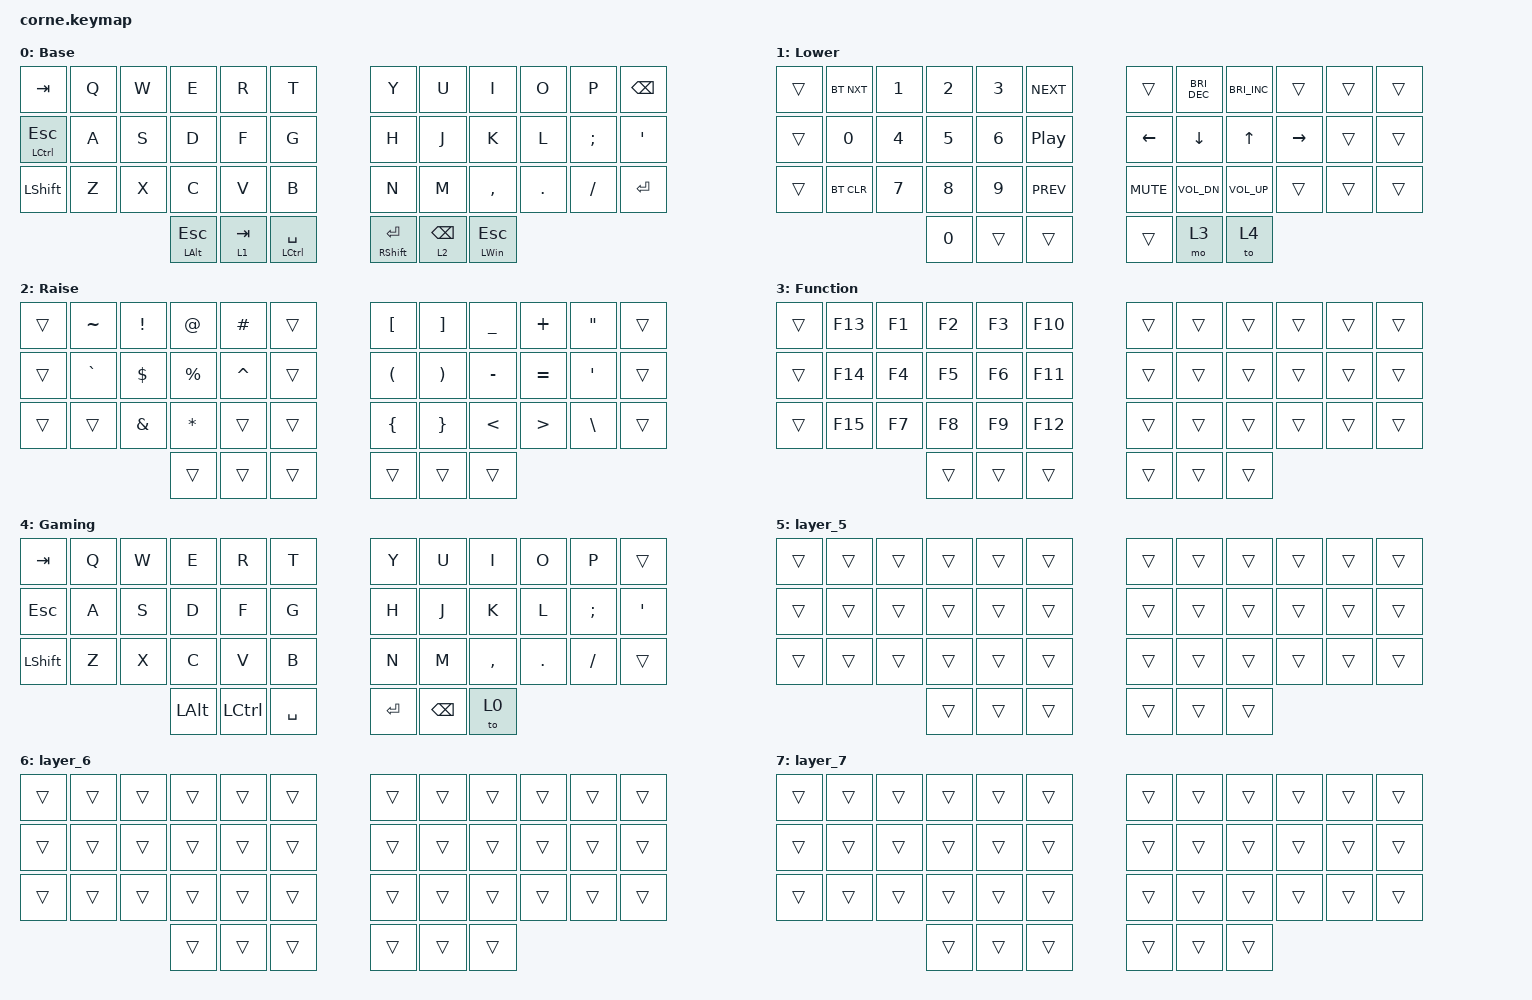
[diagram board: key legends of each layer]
/*
 * Copyright (c) 2020 The ZMK Contributors
 *
 * SPDX-License-Identifier: MIT
 */

#include <behaviors.dtsi>
#include <dt-bindings/zmk/bt.h>
#include <dt-bindings/zmk/keys.h>

/ {
    keymap {
        compatible = "zmk,keymap";

        default_layer {
            // -----------------------------------------------------------------------------------------
            // |  TAB |  Q  |  W  |  E  |  R  |  T  |   |  Y  |  U   |  I  |  O  |  P  | BKSP |
            // | CTRL |  A  |  S  |  D  |  F  |  G  |   |  H  |  J   |  K  |  L  |  ;  |  '   |
            // | SHFT |  Z  |  X  |  C  |  V  |  B  |   |  N  |  M   |  ,  |  .  |  /  | ESC  |
            //                    | GUI | LWR | SPC |   | ENT | RSE  | ALT |

            label = "Base";
            bindings = <
&kp TAB        &kp Q  &kp W  &kp E         &kp R      &kp T              &kp Y             &kp U       &kp I         &kp O    &kp P      &kp BACKSPACE
&mt LCTRL ESC  &kp A  &kp S  &kp D         &kp F      &kp G              &kp H             &kp J       &kp K         &kp L    &kp SEMI   &kp SQT
&kp LSHFT      &kp Z  &kp X  &kp C         &kp V      &kp B              &kp N             &kp M       &kp COMMA     &kp DOT  &kp SLASH  &kp ENTER
                             &mt LALT ESC  &lt 1 TAB  &mt LCTRL SPACE    &mt RSHIFT ENTER  &lt 2 BSPC  &mt LWIN ESC
            >;
        };

        lower_layer {
            // -----------------------------------------------------------------------------------------
            // |  TAB |  1  |  2  |  3  |  4  |  5  |   |  6  |  7  |  8  |  9  |  0  | BKSP |
            // | BTCLR| BT1 | BT2 | BT3 | BT4 | BT5 |   | LFT | DWN |  UP | RGT |     |      |
            // | SHFT |     |     |     |     |     |   |     |     |     |     |     |      |
            //                    |BTCLR|     | SPC |   | ENT |     | ALT |

            label = "Lower";
            bindings = <
&trans  &bt BT_NXT    &kp N1  &kp N2        &kp N3  &kp C_NEXT    &trans      &kp C_BRIGHTNESS_DEC  &kp C_BRIGHTNESS_INC  &trans     &trans  &trans
&trans  &kp NUMBER_0  &kp N4  &kp N5        &kp N6  &kp C_PP      &kp LEFT    &kp DOWN              &kp UP                &kp RIGHT  &trans  &trans
&trans  &bt BT_CLR    &kp N7  &kp N8        &kp N9  &kp C_PREV    &kp C_MUTE  &kp C_VOL_DN          &kp C_VOL_UP          &trans     &trans  &trans
                              &kp NUMBER_0  &trans  &trans        &trans      &mo 3                 &to 4
            >;
        };

        raise_layer {
            // -----------------------------------------------------------------------------------------
            // |  TAB |  !  |  @  |  #  |  $  |  %  |   |  ^  |  &  |  *  |  (  |  )  | BKSP |
            // | CTRL |     |     |     |     |     |   |  -  |  =  |  [  |  ]  |  \  |  `   |
            // | SHFT |     |     |     |     |     |   |  _  |  +  |  {  |  }  | "|" |  ~   |
            //                    | GUI |     | SPC |   | ENT |     | ALT |

            label = "Raise";
            bindings = <
&trans  &kp TILDE  &kp EXCL       &kp AT        &kp HASH   &trans    &kp LBKT        &kp RBKT         &kp UNDERSCORE  &kp PLUS          &kp DOUBLE_QUOTES  &trans
&trans  &kp GRAVE  &kp DOLLAR     &kp PERCENT   &kp CARET  &trans    &kp LPAR        &kp RPAR         &kp MINUS       &kp EQUAL         &kp APOS           &trans
&trans  &trans     &kp AMPERSAND  &kp ASTERISK  &trans     &trans    &kp LEFT_BRACE  &kp RIGHT_BRACE  &kp LESS_THAN   &kp GREATER_THAN  &kp BSLH           &trans
                                  &trans        &trans     &trans    &trans          &trans           &trans
            >;
        };

        function_layer {
            bindings = <
&trans  &kp F13  &kp F1  &kp F2  &kp F3  &kp F10    &trans  &trans  &trans  &trans  &trans  &trans
&trans  &kp F14  &kp F4  &kp F5  &kp F6  &kp F11    &trans  &trans  &trans  &trans  &trans  &trans
&trans  &kp F15  &kp F7  &kp F8  &kp F9  &kp F12    &trans  &trans  &trans  &trans  &trans  &trans
                         &trans  &trans  &trans     &trans  &trans  &trans
            >;

            label = "Function";
        };

        gaming_layer {
            bindings = <
&kp TAB    &kp Q  &kp W  &kp E     &kp R      &kp T        &kp Y    &kp U          &kp I      &kp O    &kp P     &trans
&kp ESC    &kp A  &kp S  &kp D     &kp F      &kp G        &kp H    &kp J          &kp K      &kp L    &kp SEMI  &kp SQT
&kp LSHFT  &kp Z  &kp X  &kp C     &kp V      &kp B        &kp N    &kp M          &kp COMMA  &kp DOT  &kp FSLH  &trans
                         &kp LALT  &kp LCTRL  &kp SPACE    &kp RET  &kp BACKSPACE  &to 0
            >;

            label = "Gaming";
        };

        layer_5 {
            bindings = <
&trans  &trans  &trans  &trans  &trans  &trans    &trans  &trans  &trans  &trans  &trans  &trans
&trans  &trans  &trans  &trans  &trans  &trans    &trans  &trans  &trans  &trans  &trans  &trans
&trans  &trans  &trans  &trans  &trans  &trans    &trans  &trans  &trans  &trans  &trans  &trans
                        &trans  &trans  &trans    &trans  &trans  &trans
            >;
        };

        layer_6 {
            bindings = <
&trans  &trans  &trans  &trans  &trans  &trans    &trans  &trans  &trans  &trans  &trans  &trans
&trans  &trans  &trans  &trans  &trans  &trans    &trans  &trans  &trans  &trans  &trans  &trans
&trans  &trans  &trans  &trans  &trans  &trans    &trans  &trans  &trans  &trans  &trans  &trans
                        &trans  &trans  &trans    &trans  &trans  &trans
            >;
        };

        layer_7 {
            bindings = <
&trans  &trans  &trans  &trans  &trans  &trans    &trans  &trans  &trans  &trans  &trans  &trans
&trans  &trans  &trans  &trans  &trans  &trans    &trans  &trans  &trans  &trans  &trans  &trans
&trans  &trans  &trans  &trans  &trans  &trans    &trans  &trans  &trans  &trans  &trans  &trans
                        &trans  &trans  &trans    &trans  &trans  &trans
            >;
        };
    };
};
